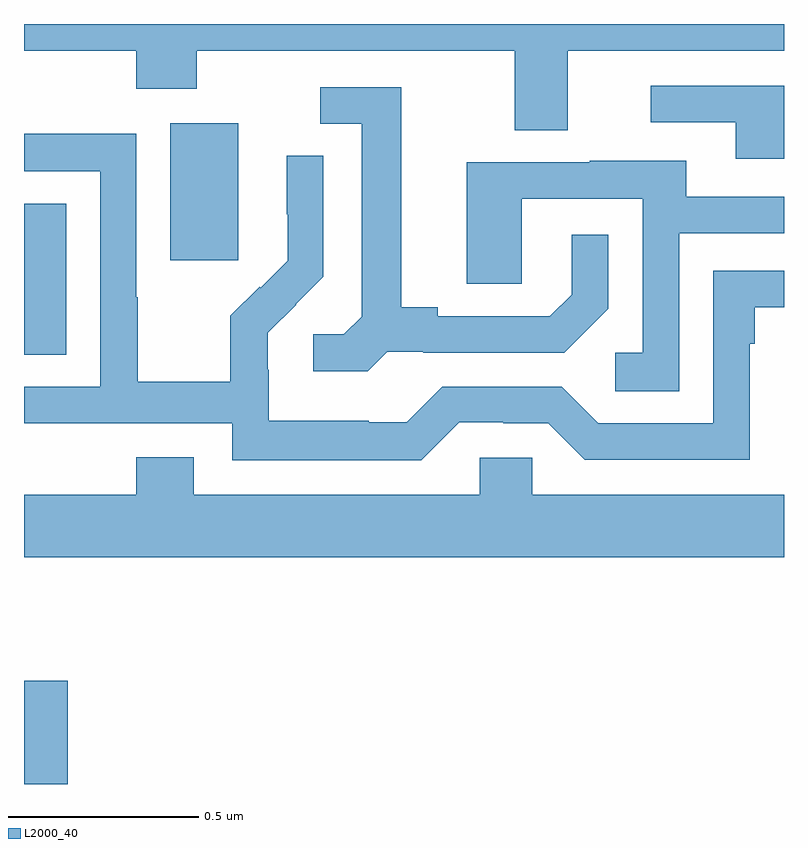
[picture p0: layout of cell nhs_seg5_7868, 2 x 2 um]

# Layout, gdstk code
import gdstk
lib = gdstk.Library(unit=1e-6, precision=1e-09)
def R(c, l, rs):  # rectangles x0, y0, x1, y1
    for r in rs: c.add(gdstk.rectangle(r[:2], r[2:], *l))
def P(c, l, *ps):  # polygons
    for p in ps: c.add(gdstk.Polygon(p, *l))
L2000_40 = (2000, 40)

nhs_seg5_7868 = lib.new_cell('nhs_seg5_7868')
R(nhs_seg5_7868, L2000_40, [(214,886.799,214.115,887.071), (214,887.929,214.111,888.326), (214.385,888.177,214.564,888.538)])
P(nhs_seg5_7868, L2000_40, [(215.431,888.728),(216,888.728),(216,888.799),(214,888.799),(214,888.728),(214.295,888.728),(214.295,888.629),(214.455,888.629),(214.455,888.728),(215.291,888.728),(215.291,888.52),(215.431,888.52)],
  [(216,888.636),(215.649,888.636),(215.649,888.54),(215.873,888.54),(215.873,888.444),(216,888.444)],
  [(214.956,887.937),(215.05,887.937),(215.05,887.934),(215.422,887.934),(215.538,888.05),(215.538,888.244),(215.441,888.244),(215.441,888.087),(215.384,888.03),(215.089,888.03),(215.089,888.053),(214.993,888.053),(214.993,888.633),(214.779,888.633),(214.779,888.537),(214.889,888.537),(214.889,888.029),(214.842,887.982),(214.761,887.982),(214.761,887.885),(214.904,887.885)],
  [(215.145,887.751),(215.261,887.751),(215.261,887.748),(215.379,887.748),(215.475,887.652),(215.91,887.652),(215.91,887.957),(215.923,887.957),(215.923,888.054),(216,888.054),(216,888.15),(215.814,888.15),(215.814,887.748),(215.511,887.748),(215.415,887.844),(215.1,887.844),(215.007,887.751),(214.907,887.751),(214.907,887.755),(214.644,887.755),(214.644,887.889),(214.642,887.889),(214.642,887.986),(214.716,888.06),(214.715,888.061),(214.788,888.134),(214.788,888.452),(214.692,888.452),(214.692,888.298),(214.694,888.298),(214.694,888.176),(214.623,888.105),(214.62,888.108),(214.543,888.031),(214.543,887.857),(214.299,887.857),(214.299,888.08),(214.296,888.08),(214.296,888.51),(214,888.51),(214,888.411),(214.2,888.411),(214.2,887.844),(214,887.844),(214,887.748),(214.548,887.748),(214.548,887.651),(215.045,887.651)],
  [(215.724,888.249),(216,888.249),(216,888.345),(215.743,888.345),(215.743,888.439),(215.489,888.439),(215.489,888.435),(215.165,888.435),(215.165,888.115),(215.31,888.115),(215.31,888.339),(215.628,888.339),(215.628,887.934),(215.556,887.934),(215.556,887.833),(215.724,887.833)],
  [(216,887.56),(215.337,887.56),(215.337,887.658),(215.199,887.658),(215.199,887.56),(214.447,887.56),(214.447,887.659),(214.295,887.659),(214.295,887.56),(214,887.56),(214,887.396),(216,887.396)])

lib.write_gds('nhs_seg5_7868.gds')
